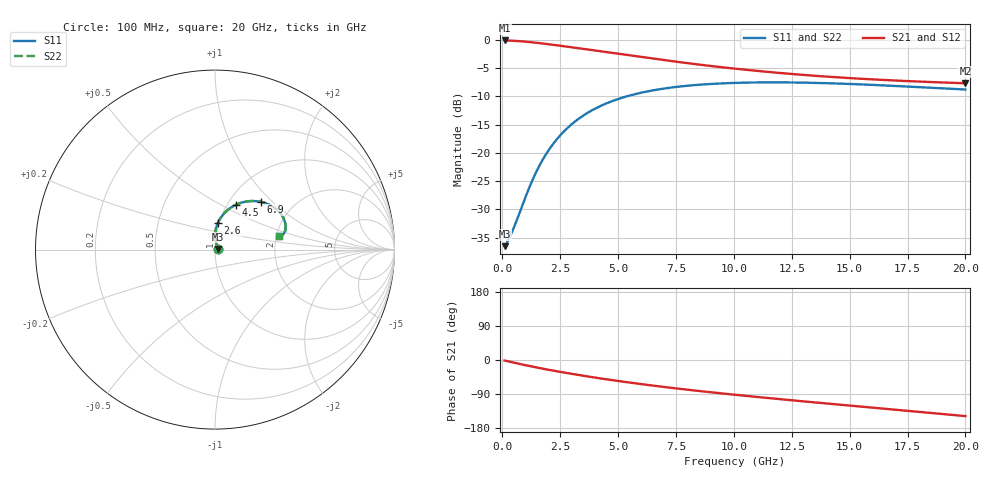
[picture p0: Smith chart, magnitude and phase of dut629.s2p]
! Touchstone file exported from HFSS 2024.1.0
!  File:  C:/UserFiles/LocalFiles/RDL_TSV_Batchsim/temp_RDL_TSV_629_1779803930.aedt
!  Generated:  10:11:10 PM May 26, 2026
!  Design:  RDL_TSV
!  Project:  temp_RDL_TSV_629_1779803930
!  Setup:  Setup1
!  Solution:  Sweep
! Variables:
!  dtsv = 11.75um
!  hbump = 3um
!  htsv = 53.59um
!  ldown = 515.45um
!  lrdl = 144.03um
!  p = 40
!  p1 = 54.54um
!  rhole = 10um
!  subl = 2122.47um
!  t = 450um
!  tdown = 3.92um
!  trdl = 3.73um
!  viad = 10um
!  wdown = 13.95um
!  wrdl = 12.77um
!  xbump = 18um
# GHz S MA R 50.000000
! Terminal data exported
! Port[1] = TM1_1_T1
! Port[2] = TM1_4_T1
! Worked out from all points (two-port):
!   200 points, 100 MHz to 20 GHz, reference 50 ohm
!   highest |S21| = -0.13 dB at 100 MHz (marker M1); lowest = -7.7 dB at 20 GHz (marker M2)
!   |S21| within 3 dB of the highest: start of sweep to 6.124 GHz
!   lowest |S11| = -36.5 dB at 100 MHz (marker M3), VSWR 1.03, Z = 51.5 + j0.372 ohm
!   |S11| at or under -10 dB: start of sweep to 5.389 GHz
!   |S22| runs from -36.5 to -7.5 dB; largest |S21 - S12| = 4e-14
!   S11 on the Smith chart (normalised r, x): 100 MHz: 1.03, +0.01; 2.6 GHz: 0.99, +0.30; 4.5 GHz: 1.09, +0.59; 6.9 GHz: 1.38, +0.85; 20 GHz: 2.06, +0.35
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0.1  0.01494 14.0  0.9851 -1.4  0.9851 -1.4  0.01494 14.0
! Gamma 0 0 0 0
! Port Impedance 50 0 50 0
0.2  0.01604 26.5  0.9841 -2.8  0.9841 -2.8  0.01604 26.5
0.4  0.01953 46.5  0.9805 -5.6  0.9805 -5.6  0.01953 46.5
1.1  0.04563 83.8  0.957 -14.9  0.957 -14.9  0.04565 83.8
1.5  0.06991 88.9  0.9382 -19.9  0.9382 -19.9  0.06996 88.9
1.7  0.08361 89.3  0.9279 -22.3  0.9279 -22.3  0.08368 89.3
2  0.1053 88.4  0.912 -25.8  0.912 -25.8  0.1054 88.4
2.3  0.1276 86.4  0.8957 -29.2  0.8957 -29.2  0.1277 86.4
2.6  0.15 83.8  0.8791 -32.4  0.8791 -32.4  0.1501 83.9
3  0.1791 80.0  0.8571 -36.6  0.8571 -36.6  0.1793 80.0
3.5  0.2136 74.9  0.8298 -41.6  0.8298 -41.6  0.2139 75.0
4  0.2452 70.0  0.8029 -46.4  0.8029 -46.4  0.2455 70.0
4.5  0.2736 65.2  0.7766 -51.0  0.7766 -51.0  0.274 65.3
5.6  0.3249 55.8  0.7218 -60.4  0.7218 -60.4  0.3254 55.8
6.8  0.3651 47.0  0.6678 -69.8  0.6678 -69.8  0.3656 47.1
6.9  0.3678 46.4  0.6635 -70.5  0.6635 -70.5  0.3683 46.4
8.4  0.3984 37.5  0.6061 -81.1  0.6061 -81.1  0.399 37.6
10.1  0.4155 29.6  0.5533 -92.1  0.5533 -92.1  0.4162 29.6
11.7  0.4198 23.7  0.514 -101.7  0.514 -101.7  0.4206 23.8
13.4  0.4157 18.9  0.4815 -111.4  0.4815 -111.4  0.4165 18.9
16.7  0.3925 13.0  0.4382 -129.7  0.4382 -129.7  0.3934 13.1
20  0.3627 11.9  0.4119 -148.1  0.4119 -148.1  0.3636 11.9
